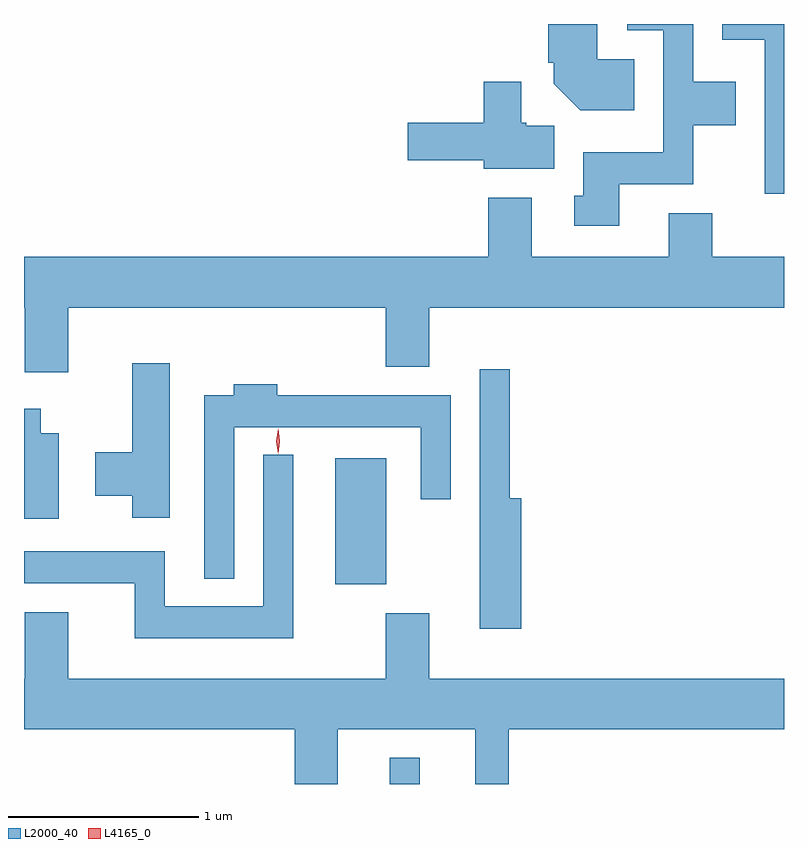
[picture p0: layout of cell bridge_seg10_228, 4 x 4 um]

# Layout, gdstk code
import gdstk
lib = gdstk.Library(unit=1e-6, precision=1e-09)
def R(c, l, rs):  # rectangles x0, y0, x1, y1
    for r in rs: c.add(gdstk.rectangle(r[:2], r[2:], *l))
def P(c, l, *ps):  # polygons
    for p in ps: c.add(gdstk.Polygon(p, *l))
L2000_40 = (2000, 40)
L4165_0 = (4165, 0)

bridge_seg10_228 = lib.new_cell('bridge_seg10_228')
R(bridge_seg10_228, L2000_40, [(1719.591,2095.869,1719.749,2096.008), (1719.306,2096.921,1719.574,2097.584)])
P(bridge_seg10_228, L2000_40, [(1720.799,2099.026),(1721.189,2099.026),(1721.189,2099.336),(1721.414,2099.336),(1721.414,2099.564),(1721.189,2099.564),(1721.189,2099.869),(1720.843,2099.869),(1720.843,2099.836),(1721.031,2099.836),(1721.031,2099.194),(1720.611,2099.194),(1720.611,2098.964),(1720.563,2098.964),(1720.563,2098.806),(1720.799,2098.806)],
  [(1720.879,2099.684),(1720.684,2099.684),(1720.684,2099.869),(1720.426,2099.869),(1720.426,2099.666),(1720.456,2099.666),(1720.456,2099.554),(1720.594,2099.416),(1720.879,2099.416)],
  [(1721.667,2099.869),(1721.341,2099.869),(1721.341,2099.786),(1721.566,2099.786),(1721.566,2098.976),(1721.667,2098.976)],
  [(1720.459,2099.334),(1720.31,2099.334),(1720.31,2099.349),(1720.284,2099.349),(1720.284,2099.564),(1720.086,2099.564),(1720.086,2099.349),(1719.686,2099.349),(1719.686,2099.151),(1720.086,2099.151),(1720.086,2099.106),(1720.459,2099.106)],
  [(1717.899,2098.376),(1719.571,2098.376),(1719.571,2098.066),(1719.799,2098.066),(1719.799,2098.376),(1721.667,2098.376),(1721.667,2098.644),(1721.289,2098.644),(1721.289,2098.874),(1721.061,2098.874),(1721.061,2098.644),(1720.339,2098.644),(1720.339,2098.954),(1720.111,2098.954),(1720.111,2098.644),(1717.667,2098.644),(1717.667,2098.376),(1717.671,2098.376),(1717.671,2098.036),(1717.899,2098.036)],
  [(1718.434,2098.084),(1718.236,2098.084),(1718.236,2097.614),(1718.041,2097.614),(1718.041,2097.386),(1718.236,2097.386),(1718.236,2097.271),(1718.434,2097.271)],
  [(1720.284,2097.374),(1720.224,2097.374),(1720.224,2098.053),(1720.066,2098.053),(1720.066,2096.686),(1720.284,2096.686)],
  [(1718.774,2097.746),(1719.756,2097.746),(1719.756,2097.368),(1719.914,2097.368),(1719.914,2097.914),(1718.999,2097.914),(1718.999,2097.974),(1718.771,2097.974),(1718.771,2097.914),(1718.616,2097.914),(1718.616,2096.948),(1718.774,2096.948)],
  [(1717.849,2097.714),(1717.754,2097.714),(1717.754,2097.844),(1717.667,2097.844),(1717.667,2097.266),(1717.849,2097.266)],
  [(1719.084,2097.603),(1718.926,2097.603),(1718.926,2096.804),(1718.409,2096.804),(1718.409,2097.094),(1717.667,2097.094),(1717.667,2096.926),(1718.251,2096.926),(1718.251,2096.636),(1719.084,2096.636)],
  [(1717.671,2096.774),(1717.671,2096.424),(1717.667,2096.424),(1717.667,2096.156),(1719.091,2096.156),(1719.091,2095.869),(1719.319,2095.869),(1719.319,2096.156),(1720.041,2096.156),(1720.041,2095.869),(1720.219,2095.869),(1720.219,2096.156),(1721.667,2096.156),(1721.667,2096.424),(1719.799,2096.424),(1719.799,2096.769),(1719.571,2096.769),(1719.571,2096.424),(1717.899,2096.424),(1717.899,2096.774)])
P(bridge_seg10_228, L4165_0, [(1719.005,2097.607),(1719.004,2097.608),(1718.994,2097.674),(1719.004,2097.74),(1719.004,2097.74),(1719.005,2097.74),(1719.014,2097.674),(1719.005,2097.608)])

lib.write_gds('bridge_seg10_228.gds')
